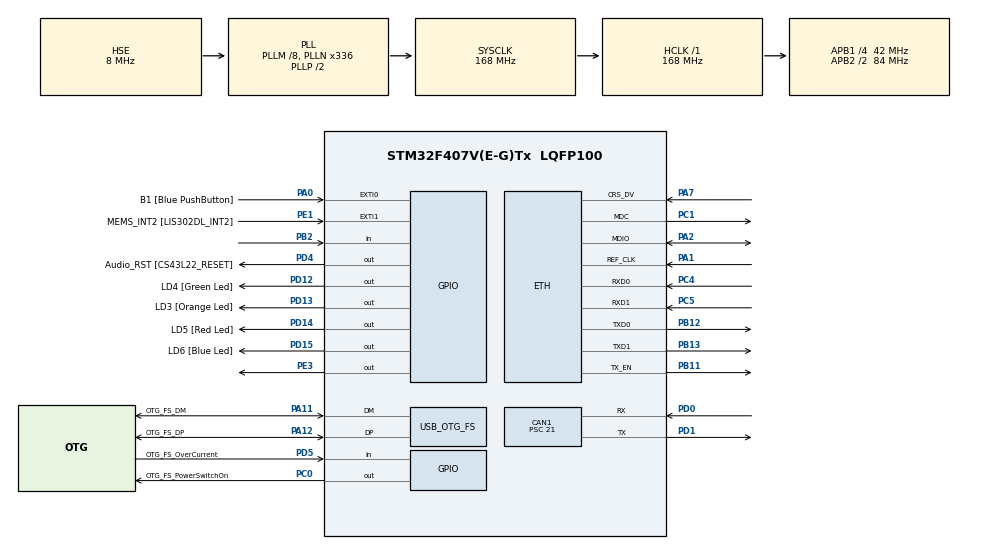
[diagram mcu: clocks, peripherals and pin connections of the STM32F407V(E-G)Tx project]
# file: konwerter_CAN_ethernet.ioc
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CAN1.ABOM=DISABLE
CAN1.AWUM=DISABLE
CAN1.BS1=CAN_BS1_2TQ
CAN1.CalculateBaudRate=500000
CAN1.CalculateTimeBit=2000
CAN1.CalculateTimeQuantum=500.0
CAN1.Mode=CAN_MODE_NORMAL
CAN1.NART=DISABLE
CAN1.Prescaler=21
ETH.MediaInterface=HAL_ETH_RMII_MODE
LWIP.BSP.number=1
LWIP.HTTPD_USE_CUSTOM_FSDATA=0
LWIP.IP_ADDRESS=192.168.000.172
LWIP.LWIP_DHCP=0
LWIP.LWIP_HTTPD=1
LWIP.LWIP_HTTPD_CGI=1
LWIP.LWIP_HTTPD_CGI_SSI=0
LWIP.LWIP_HTTPD_MAX_TAG_INSERT_LEN=192
LWIP.LWIP_HTTPD_MAX_TAG_NAME_LEN=16
LWIP.LWIP_HTTPD_SSI=1
LWIP.LWIP_HTTPD_SSI_INCLUDE_TAG=1
LWIP.MEM_SIZE=10*1024
LWIP.NETMASK_ADDRESS=255.255.255.000
LWIP.TCP_MSS=1460
LWIP.TCP_SND_BUF=5840
LWIP.TCP_SND_QUEUELEN=16
LWIP.Version=v2.1.2_Cube
LWIP0.BSP.STBoard=false
LWIP0.BSP.api=BSP_COMPONENT_DRIVER
LWIP0.BSP.component=DP83848
LWIP0.BSP.instance=DP83848
LWIP0.BSP.name=Driver_PHY
LWIP0.BSP.semaphore=S_DP83848
LWIP0.BSP.solution=DP83848
Mcu.Family=STM32F4
Mcu.Name=STM32F407V(E-G)Tx
Mcu.Package=LQFP100
NVIC.CAN1_RX0_IRQn=true\:0\:0\:false\:false\:true\:true\:true\:true
NVIC.CAN1_RX1_IRQn=true\:0\:0\:false\:false\:true\:true\:true\:true
NVIC.CAN1_SCE_IRQn=true\:0\:0\:false\:false\:true\:true\:true\:true
NVIC.CAN1_TX_IRQn=true\:0\:0\:false\:false\:true\:true\:true\:true
NVIC.PriorityGroup=NVIC_PRIORITYGROUP_4
PA0-WKUP.GPIO_Label=B1 [Blue PushButton]
PA0-WKUP.GPIO_ModeDefaultEXTI=GPIO_MODE_EVT_RISING
PA0-WKUP.GPIO_PuPd=GPIO_NOPULL
PA0-WKUP.Signal=GPXTI0
PA1.Mode=RMII
PA1.Signal=ETH_REF_CLK
PA10.GPIO_Label=OTG_FS_ID
PA10.GPIO_Mode=GPIO_MODE_AF_PP
PA10.GPIO_PuPd=GPIO_NOPULL
PA10.GPIO_Speed=GPIO_SPEED_FREQ_LOW
PA10.Signal=USB_OTG_FS_ID
PA11.GPIO_Label=OTG_FS_DM
PA11.GPIO_Mode=GPIO_MODE_AF_PP
PA11.GPIO_PuPd=GPIO_NOPULL
PA11.GPIO_Speed=GPIO_SPEED_FREQ_LOW
PA11.Mode=Host_Only
PA11.Signal=USB_OTG_FS_DM
PA12.GPIO_Label=OTG_FS_DP
PA12.GPIO_Mode=GPIO_MODE_AF_PP
PA12.GPIO_PuPd=GPIO_NOPULL
PA12.GPIO_Speed=GPIO_SPEED_FREQ_LOW
PA12.Mode=Host_Only
PA12.Signal=USB_OTG_FS_DP
PA13.GPIO_Label=SWDIO
PA13.Mode=Serial_Wire
PA13.Signal=SYS_JTMS-SWDIO
PA14.GPIO_Label=SWCLK
PA14.Mode=Serial_Wire
PA14.Signal=SYS_JTCK-SWCLK
PA2.Mode=RMII
PA2.Signal=ETH_MDIO
PA4.GPIO_Label=I2S3_WS [CS43L22_LRCK]
PA4.GPIO_Mode=GPIO_MODE_AF_PP
PA4.GPIO_PuPd=GPIO_NOPULL
PA4.GPIO_Speed=GPIO_SPEED_FREQ_LOW
PA4.Signal=I2S3_WS
PA5.GPIO_Label=SPI1_SCK [LIS302DL_SCL/SPC]
PA5.GPIO_Mode=GPIO_MODE_AF_PP
PA5.GPIO_PuPd=GPIO_NOPULL
PA5.GPIO_Speed=GPIO_SPEED_FREQ_LOW
PA5.Signal=SPI1_SCK
PA6.GPIO_Label=SPI1_MISO [LIS302DL_SDO]
PA6.GPIO_Mode=GPIO_MODE_AF_PP
PA6.GPIO_PuPd=GPIO_NOPULL
PA6.GPIO_Speed=GPIO_SPEED_FREQ_LOW
PA6.Signal=SPI1_MISO
PA7.Mode=RMII
PA7.Signal=ETH_CRS_DV
PA9.GPIO_Label=VBUS_FS
PA9.GPIO_Mode=GPIO_MODE_INPUT
PA9.GPIO_PuPd=GPIO_NOPULL
PA9.Signal=USB_OTG_FS_VBUS
PB10.GPIO_Label=CLK_IN [MP45DT02_CLK]
PB10.GPIO_Mode=GPIO_MODE_AF_PP
PB10.GPIO_PuPd=GPIO_NOPULL
PB10.GPIO_Speed=GPIO_SPEED_FREQ_LOW
PB10.Signal=I2S2_CK
PB11.Mode=RMII
PB11.Signal=ETH_TX_EN
PB12.Mode=RMII
PB12.Signal=ETH_TXD0
PB13.Mode=RMII
PB13.Signal=ETH_TXD1
PB2.Signal=GPIO_Input
PB3.GPIO_Label=SWO
PB3.Signal=SYS_JTDO-SWO
PB5.Signal=CAN2_RX
PB6.Signal=CAN2_TX
PB9.GPIO_Label=Audio_SDA [CS43L22_SDA]
PB9.GPIO_Mode=GPIO_MODE_AF_OD
PB9.GPIO_Pu=GPIO_PULLUP
PB9.GPIO_PuPd=GPIO_NOPULL
PB9.GPIO_Speed=GPIO_SPEED_FREQ_LOW
PB9.Signal=I2C1_SDA
PC0.GPIO_Label=OTG_FS_PowerSwitchOn
PC0.GPIO_PuPd=GPIO_NOPULL
PC0.GPIO_Speed=GPIO_SPEED_FREQ_LOW
PC0.PinState=GPIO_PIN_SET
PC0.Signal=GPIO_Output
PC1.Mode=RMII
PC1.Signal=ETH_MDC
PC10.GPIO_Label=I2S3_SCK [CS43L22_SCLK]
PC10.GPIO_Mode=GPIO_MODE_AF_PP
PC10.GPIO_PuPd=GPIO_NOPULL
PC10.GPIO_Speed=GPIO_SPEED_FREQ_LOW
PC10.Signal=I2S3_CK
PC12.GPIO_Label=I2S3_SD [CS43L22_SDIN]
PC12.GPIO_Mode=GPIO_MODE_AF_PP
PC12.GPIO_PuPd=GPIO_NOPULL
PC12.GPIO_Speed=GPIO_SPEED_FREQ_LOW
PC12.Signal=I2S3_SD
PC14-OSC32_IN.GPIO_Label=PC14-OSC32_IN
PC14-OSC32_IN.Mode=LSE-External-Oscillator
PC14-OSC32_IN.Signal=RCC_OSC32_IN
PC15-OSC32_OUT.GPIO_Label=PC15-OSC32_OUT
PC15-OSC32_OUT.Mode=LSE-External-Oscillator
PC15-OSC32_OUT.Signal=RCC_OSC32_OUT
PC3.GPIO_Label=PDM_OUT [MP45DT02_DOUT]
PC3.GPIO_Mode=GPIO_MODE_AF_PP
PC3.GPIO_PuPd=GPIO_NOPULL
PC3.GPIO_Speed=GPIO_SPEED_FREQ_LOW
PC3.Signal=I2S2_SD
PC4.Mode=RMII
PC4.Signal=ETH_RXD0
PC5.Mode=RMII
PC5.Signal=ETH_RXD1
PC7.GPIO_Label=I2S3_MCK [CS43L22_MCLK]
PC7.GPIO_Mode=GPIO_MODE_AF_PP
PC7.GPIO_PuPd=GPIO_NOPULL
PC7.GPIO_Speed=GPIO_SPEED_FREQ_LOW
PC7.Signal=I2S3_MCK
PD0.GPIO_PuPd=GPIO_NOPULL
PD0.Mode=CAN_Activate
PD0.Signal=CAN1_RX
PD1.Mode=CAN_Activate
PD1.Signal=CAN1_TX
PD12.GPIO_Label=LD4 [Green Led]
PD12.GPIO_PuPd=GPIO_NOPULL
PD12.GPIO_Speed=GPIO_SPEED_FREQ_LOW
PD12.Signal=GPIO_Output
PD13.GPIO_Label=LD3 [Orange Led]
PD13.GPIO_PuPd=GPIO_NOPULL
PD13.GPIO_Speed=GPIO_SPEED_FREQ_LOW
PD13.Signal=GPIO_Output
PD14.GPIO_Label=LD5 [Red Led]
PD14.GPIO_PuPd=GPIO_NOPULL
PD14.GPIO_Speed=GPIO_SPEED_FREQ_LOW
PD14.Signal=GPIO_Output
PD15.GPIO_Label=LD6 [Blue Led]
PD15.GPIO_PuPd=GPIO_NOPULL
PD15.GPIO_Speed=GPIO_SPEED_FREQ_LOW
PD15.Signal=GPIO_Output
PD4.GPIO_Label=Audio_RST [CS43L22_RESET]
PD4.GPIO_PuPd=GPIO_NOPULL
PD4.GPIO_Speed=GPIO_SPEED_FREQ_LOW
PD4.Signal=GPIO_Output
PD5.GPIO_Label=OTG_FS_OverCurrent
PD5.GPIO_Mode=GPIO_MODE_INPUT
PD5.GPIO_PuPd=GPIO_NOPULL
PD5.Signal=GPIO_Input
PE1.GPIO_Label=MEMS_INT2 [LIS302DL_INT2]
PE1.GPIO_ModeDefaultEXTI=GPIO_MODE_EVT_RISING
PE1.GPIO_PuPd=GPIO_NOPULL
PE1.Signal=GPXTI1
PE3.Signal=GPIO_Output
PH0-OSC_IN.GPIO_Label=PH0-OSC_IN
PH0-OSC_IN.Mode=HSE-External-Oscillator
PH0-OSC_IN.Signal=RCC_OSC_IN
PH1-OSC_OUT.GPIO_Label=PH1-OSC_OUT
PH1-OSC_OUT.Mode=HSE-External-Oscillator
PH1-OSC_OUT.Signal=RCC_OSC_OUT
ProjectManager.HeapSize=0x200
ProjectManager.StackSize=0x400
ProjectManager.TargetToolchain=STM32CubeIDE
RCC.48MHZClocksFreq_Value=48000000
RCC.AHBFreq_Value=168000000
RCC.APB1CLKDivider=RCC_HCLK_DIV4
RCC.APB1Freq_Value=42000000
RCC.APB1TimFreq_Value=84000000
RCC.APB2CLKDivider=RCC_HCLK_DIV2
RCC.APB2Freq_Value=84000000
RCC.APB2TimFreq_Value=168000000
RCC.CortexFreq_Value=168000000
RCC.HCLKFreq_Value=168000000
RCC.HSE_VALUE=8000000
RCC.HSI_VALUE=16000000
RCC.PLLM=8
RCC.PLLN=336
RCC.PLLQ=7
RCC.SYSCLKFreq_VALUE=168000000
RCC.SYSCLKSource=RCC_SYSCLKSOURCE_PLLCLK
RCC.VCOOutputFreq_Value=336000000
USB_OTG_FS.VirtualMode=Host_Only
USB_OTG_FS.phy_itface=HCD_PHY_EMBEDDED
VP_LWIP_VS_Enabled.Mode=Enabled
board=STM32F407G-DISC1

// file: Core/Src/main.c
/* USER CODE BEGIN Header */
/**
  ******************************************************************************
  * @file           : main.c
  * @brief          : Main program body
  ******************************************************************************
  * @attention
  *
  * Copyright (c) 2025 STMicroelectronics.
  * All rights reserved.
  *
  * This software is licensed under terms that can be found in the LICENSE file
  * in the root directory of this software component.
  * If no LICENSE file comes with this software, it is provided AS-IS.
  *
  ******************************************************************************
  */
/* USER CODE END Header */
#include "main.h"
#include "lwip.h"

/* USER CODE BEGIN Includes */
#include "lwip/apps/httpd.h"
#include "tcpServer.h"
#include "tcpClient.h"
#include <can_tcp_conv.h>
#include "http_ssi.h"
#include "stats.h"

/* USER CODE END Includes */

CAN_HandleTypeDef hcan1;

HCD_HandleTypeDef hhcd_USB_OTG_FS;

void SystemClock_Config(void);
static void MX_GPIO_Init(void);
static void MX_CAN1_Init(void);
static void MX_USB_OTG_FS_HCD_Init(void);

/* USER CODE BEGIN 0 */
CAN_TxHeaderTypeDef TxHeader;
CAN_RxHeaderTypeDef RxHeader;

uint32_t TxMailbox[4];

uint8_t TxData[8];
uint8_t RxData[8];

uint8_t count = 0;

char tcp_client =0;

void HAL_CAN_RxFifo0MsgPendingCallback(CAN_HandleTypeDef *hcan)
{
	CAN1_RX0_IRQ_SaveToQueue();
}
void CAN_filter_config(void){
    CAN_FilterTypeDef canfilterconfig;
    canfilterconfig.FilterActivation = CAN_FILTER_ENABLE;
    canfilterconfig.FilterBank = 10;
    canfilterconfig.FilterFIFOAssignment = CAN_RX_FIFO0;
    canfilterconfig.FilterIdHigh = 0x0000;
    canfilterconfig.FilterIdLow = 0x0000;
    canfilterconfig.FilterMaskIdHigh = 0x0000;
    canfilterconfig.FilterMaskIdLow = 0x0000;
    canfilterconfig.FilterMode = CAN_FILTERMODE_IDMASK;
    canfilterconfig.FilterScale = CAN_FILTERSCALE_32BIT;
    canfilterconfig.SlaveStartFilterBank = 13;

    if (HAL_CAN_ConfigFilter(&hcan1, &canfilterconfig) != HAL_OK) Error_Handler();
    if (HAL_CAN_Start(&hcan1) != HAL_OK) Error_Handler();

    if (HAL_CAN_ActivateNotification(&hcan1, CAN_IT_RX_FIFO0_MSG_PENDING) != HAL_OK) Error_Handler();
}

/* USER CODE END 0 */

int main(void)
{

  /* MCU Configuration--------------------------------------------------------*/

  /* Reset of all peripherals, Initializes the Flash interface and the Systick. */
  HAL_Init();

  /* Configure the system clock */
  SystemClock_Config();

  /* Initialize all configured peripherals */
  MX_GPIO_Init();
  MX_LWIP_Init();
  MX_CAN1_Init();
  MX_USB_OTG_FS_HCD_Init();
  /* USER CODE BEGIN 2 */
  http_server_init();
  CAN_filter_config();

  //USTAWIENIE TRYBU PRACY
  tcp_client = 1;
  if(tcp_client){
	  tcp_client_init();
  }else{
	  tcp_server_init();
  }

  /* USER CODE END 2 */

  /* Infinite loop */
  while (1)
  {

    /* USER CODE BEGIN 3 */
      MX_LWIP_Process();       // TCP stack
	  if(tcp_client){
		  tcp_client_loop();
	  }
	  uint32_t now = HAL_GetTick();

	  send_can_from_queue();   // TCP->CAN
	  send_can_over_tcp(); 	   // CAN->TCP
  }
  /* USER CODE END 3 */
}

void SystemClock_Config(void)
{
  RCC_OscInitTypeDef RCC_OscInitStruct = {0};
  RCC_ClkInitTypeDef RCC_ClkInitStruct = {0};

  /** Configure the main internal regulator output voltage
  */
  __HAL_RCC_PWR_CLK_ENABLE();
  __HAL_PWR_VOLTAGESCALING_CONFIG(PWR_REGULATOR_VOLTAGE_SCALE1);

  /** Initializes the RCC Oscillators according to the specified parameters
  * in the RCC_OscInitTypeDef structure.
  */
  RCC_OscInitStruct.OscillatorType = RCC_OSCILLATORTYPE_HSE;
  RCC_OscInitStruct.HSEState = RCC_HSE_ON;
  RCC_OscInitStruct.PLL.PLLState = RCC_PLL_ON;
  RCC_OscInitStruct.PLL.PLLSource = RCC_PLLSOURCE_HSE;
  RCC_OscInitStruct.PLL.PLLM = 8;
  RCC_OscInitStruct.PLL.PLLN = 336;
  RCC_OscInitStruct.PLL.PLLP = RCC_PLLP_DIV2;
  RCC_OscInitStruct.PLL.PLLQ = 7;
  if (HAL_RCC_OscConfig(&RCC_OscInitStruct) != HAL_OK)
  {
    Error_Handler();
  }

  /** Initializes the CPU, AHB and APB buses clocks
  */
  RCC_ClkInitStruct.ClockType = RCC_CLOCKTYPE_HCLK|RCC_CLOCKTYPE_SYSCLK
                              |RCC_CLOCKTYPE_PCLK1|RCC_CLOCKTYPE_PCLK2;
  RCC_ClkInitStruct.SYSCLKSource = RCC_SYSCLKSOURCE_PLLCLK;
  RCC_ClkInitStruct.AHBCLKDivider = RCC_SYSCLK_DIV1;
  RCC_ClkInitStruct.APB1CLKDivider = RCC_HCLK_DIV4;
  RCC_ClkInitStruct.APB2CLKDivider = RCC_HCLK_DIV2;

  if (HAL_RCC_ClockConfig(&RCC_ClkInitStruct, FLASH_LATENCY_5) != HAL_OK)
  {
    Error_Handler();
  }
}

static void MX_CAN1_Init(void)
{

  hcan1.Instance = CAN1;
  hcan1.Init.Prescaler = 21;
  hcan1.Init.Mode = CAN_MODE_NORMAL;
  hcan1.Init.SyncJumpWidth = CAN_SJW_1TQ;
  hcan1.Init.TimeSeg1 = CAN_BS1_2TQ;
  hcan1.Init.TimeSeg2 = CAN_BS2_1TQ;
  hcan1.Init.TimeTriggeredMode = DISABLE;
  hcan1.Init.AutoBusOff = DISABLE;
  hcan1.Init.AutoWakeUp = DISABLE;
  hcan1.Init.AutoRetransmission = DISABLE;
  hcan1.Init.ReceiveFifoLocked = DISABLE;
  hcan1.Init.TransmitFifoPriority = DISABLE;
  if (HAL_CAN_Init(&hcan1) != HAL_OK)
  {
    Error_Handler();
  }

}

static void MX_USB_OTG_FS_HCD_Init(void)
{

  hhcd_USB_OTG_FS.Instance = USB_OTG_FS;
  hhcd_USB_OTG_FS.Init.Host_channels = 8;
  hhcd_USB_OTG_FS.Init.speed = HCD_SPEED_FULL;
  hhcd_USB_OTG_FS.Init.dma_enable = DISABLE;
  hhcd_USB_OTG_FS.Init.phy_itface = HCD_PHY_EMBEDDED;
  hhcd_USB_OTG_FS.Init.Sof_enable = DISABLE;
  if (HAL_HCD_Init(&hhcd_USB_OTG_FS) != HAL_OK)
  {
    Error_Handler();
  }

}

static void MX_GPIO_Init(void)
{
  GPIO_InitTypeDef GPIO_InitStruct = {0};

  /* GPIO Ports Clock Enable */
  __HAL_RCC_GPIOE_CLK_ENABLE();
  __HAL_RCC_GPIOC_CLK_ENABLE();
  __HAL_RCC_GPIOH_CLK_ENABLE();
  __HAL_RCC_GPIOA_CLK_ENABLE();
  __HAL_RCC_GPIOB_CLK_ENABLE();
  __HAL_RCC_GPIOD_CLK_ENABLE();

  /*Configure GPIO pin Output Level */
  HAL_GPIO_WritePin(GPIOE, GPIO_PIN_3, GPIO_PIN_RESET);

  /*Configure GPIO pin Output Level */
  HAL_GPIO_WritePin(OTG_FS_PowerSwitchOn_GPIO_Port, OTG_FS_PowerSwitchOn_Pin, GPIO_PIN_SET);

  /*Configure GPIO pin Output Level */
  HAL_GPIO_WritePin(GPIOD, LD4_Pin|LD3_Pin|LD5_Pin|LD6_Pin
                          |Audio_RST_Pin, GPIO_PIN_RESET);

  /*Configure GPIO pin : PE3 */
  GPIO_InitStruct.Pin = GPIO_PIN_3;
  GPIO_InitStruct.Mode = GPIO_MODE_OUTPUT_PP;
  GPIO_InitStruct.Pull = GPIO_NOPULL;
  GPIO_InitStruct.Speed = GPIO_SPEED_FREQ_LOW;
  HAL_GPIO_Init(GPIOE, &GPIO_InitStruct);

  /*Configure GPIO pin : OTG_FS_PowerSwitchOn_Pin */
  GPIO_InitStruct.Pin = OTG_FS_PowerSwitchOn_Pin;
  GPIO_InitStruct.Mode = GPIO_MODE_OUTPUT_PP;
  GPIO_InitStruct.Pull = GPIO_NOPULL;
  GPIO_InitStruct.Speed = GPIO_SPEED_FREQ_LOW;
  HAL_GPIO_Init(OTG_FS_PowerSwitchOn_GPIO_Port, &GPIO_InitStruct);

  /*Configure GPIO pin : PDM_OUT_Pin */
  GPIO_InitStruct.Pin = PDM_OUT_Pin;
  GPIO_InitStruct.Mode = GPIO_MODE_AF_PP;
  GPIO_InitStruct.Pull = GPIO_NOPULL;
  GPIO_InitStruct.Speed = GPIO_SPEED_FREQ_LOW;
  GPIO_InitStruct.Alternate = GPIO_AF5_SPI2;
  HAL_GPIO_Init(PDM_OUT_GPIO_Port, &GPIO_InitStruct);

  /*Configure GPIO pin : B1_Pin */
  GPIO_InitStruct.Pin = B1_Pin;
  GPIO_InitStruct.Mode = GPIO_MODE_EVT_RISING;
  GPIO_InitStruct.Pull = GPIO_NOPULL;
  HAL_GPIO_Init(B1_GPIO_Port, &GPIO_InitStruct);

  /*Configure GPIO pin : I2S3_WS_Pin */
  GPIO_InitStruct.Pin = I2S3_WS_Pin;
  GPIO_InitStruct.Mode = GPIO_MODE_AF_PP;
  GPIO_InitStruct.Pull = GPIO_NOPULL;
  GPIO_InitStruct.Speed = GPIO_SPEED_FREQ_LOW;
  GPIO_InitStruct.Alternate = GPIO_AF6_SPI3;
  HAL_GPIO_Init(I2S3_WS_GPIO_Port, &GPIO_InitStruct);

  /*Configure GPIO pins : SPI1_SCK_Pin SPI1_MISO_Pin */
  GPIO_InitStruct.Pin = SPI1_SCK_Pin|SPI1_MISO_Pin;
  GPIO_InitStruct.Mode = GPIO_MODE_AF_PP;
  GPIO_InitStruct.Pull = GPIO_NOPULL;
  GPIO_InitStruct.Speed = GPIO_SPEED_FREQ_LOW;
  GPIO_InitStruct.Alternate = GPIO_AF5_SPI1;
  HAL_GPIO_Init(GPIOA, &GPIO_InitStruct);

  /*Configure GPIO pin : PB2 */
  GPIO_InitStruct.Pin = GPIO_PIN_2;
  GPIO_InitStruct.Mode = GPIO_MODE_INPUT;
  GPIO_InitStruct.Pull = GPIO_NOPULL;
  HAL_GPIO_Init(GPIOB, &GPIO_InitStruct);

  /*Configure GPIO pin : CLK_IN_Pin */
  GPIO_InitStruct.Pin = CLK_IN_Pin;
  GPIO_InitStruct.Mode = GPIO_MODE_AF_PP;
  GPIO_InitStruct.Pull = GPIO_NOPULL;
  GPIO_InitStruct.Speed = GPIO_SPEED_FREQ_LOW;
  GPIO_InitStruct.Alternate = GPIO_AF5_SPI2;
  HAL_GPIO_Init(CLK_IN_GPIO_Port, &GPIO_InitStruct);

  /*Configure GPIO pins : LD4_Pin LD3_Pin LD5_Pin LD6_Pin
                           Audio_RST_Pin */
  GPIO_InitStruct.Pin = LD4_Pin|LD3_Pin|LD5_Pin|LD6_Pin
                          |Audio_RST_Pin;
  GPIO_InitStruct.Mode = GPIO_MODE_OUTPUT_PP;
  GPIO_InitStruct.Pull = GPIO_NOPULL;
  GPIO_InitStruct.Speed = GPIO_SPEED_FREQ_LOW;
  HAL_GPIO_Init(GPIOD, &GPIO_InitStruct);

  /*Configure GPIO pins : I2S3_MCK_Pin I2S3_SCK_Pin I2S3_SD_Pin */
  GPIO_InitStruct.Pin = I2S3_MCK_Pin|I2S3_SCK_Pin|I2S3_SD_Pin;
  GPIO_InitStruct.Mode = GPIO_MODE_AF_PP;
  GPIO_InitStruct.Pull = GPIO_NOPULL;
  GPIO_InitStruct.Speed = GPIO_SPEED_FREQ_LOW;
  GPIO_InitStruct.Alternate = GPIO_AF6_SPI3;
  HAL_GPIO_Init(GPIOC, &GPIO_InitStruct);

  /*Configure GPIO pin : OTG_FS_OverCurrent_Pin */
  GPIO_InitStruct.Pin = OTG_FS_OverCurrent_Pin;
  GPIO_InitStruct.Mode = GPIO_MODE_INPUT;
  GPIO_InitStruct.Pull = GPIO_NOPULL;
  HAL_GPIO_Init(OTG_FS_OverCurrent_GPIO_Port, &GPIO_InitStruct);

  /*Configure GPIO pins : PB5 PB6 */
  GPIO_InitStruct.Pin = GPIO_PIN_5|GPIO_PIN_6;
  GPIO_InitStruct.Mode = GPIO_MODE_AF_PP;
  GPIO_InitStruct.Pull = GPIO_NOPULL;
  GPIO_InitStruct.Speed = GPIO_SPEED_FREQ_VERY_HIGH;
  GPIO_InitStruct.Alternate = GPIO_AF9_CAN2;
  HAL_GPIO_Init(GPIOB, &GPIO_InitStruct);

  /*Configure GPIO pin : Audio_SDA_Pin */
  GPIO_InitStruct.Pin = Audio_SDA_Pin;
  GPIO_InitStruct.Mode = GPIO_MODE_AF_OD;
  GPIO_InitStruct.Pull = GPIO_PULLUP;
  GPIO_InitStruct.Speed = GPIO_SPEED_FREQ_LOW;
  GPIO_InitStruct.Alternate = GPIO_AF4_I2C1;
  HAL_GPIO_Init(Audio_SDA_GPIO_Port, &GPIO_InitStruct);

  /*Configure GPIO pin : MEMS_INT2_Pin */
  GPIO_InitStruct.Pin = MEMS_INT2_Pin;
  GPIO_InitStruct.Mode = GPIO_MODE_EVT_RISING;
  GPIO_InitStruct.Pull = GPIO_NOPULL;
  HAL_GPIO_Init(MEMS_INT2_GPIO_Port, &GPIO_InitStruct);

}

void Error_Handler(void)
{
  __disable_irq();
  while (1)
  {
  }
}
